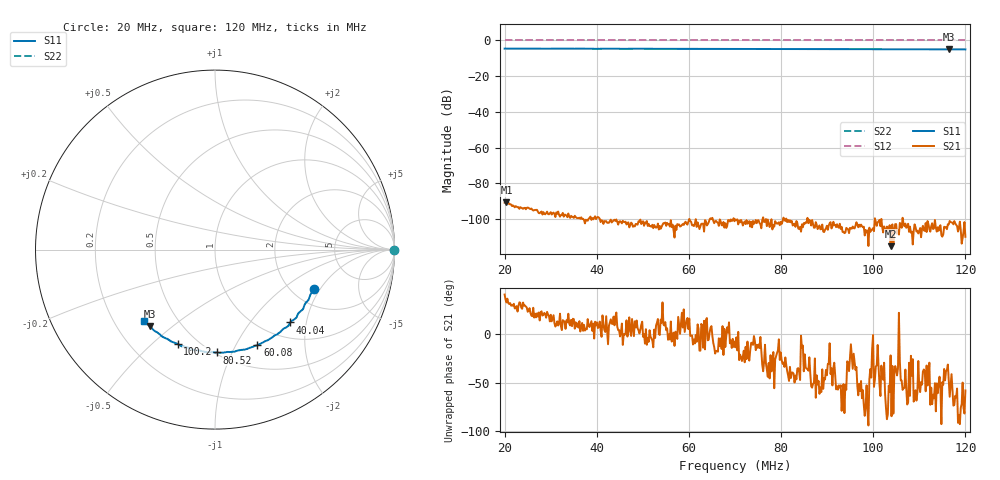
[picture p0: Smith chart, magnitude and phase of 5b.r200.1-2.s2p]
! Anritsu VNA Master:  Model: MS2036C/10/77
! SN:  1601066
! /card0/usr/18may27.balun/5b.r200.s2p
! Existing Calibration Information:
! TYPE:  Current Settings,  Active Cal Settings
! TIME:  05/27/2018 03:37:41 PM,  05/27/2018 03:21:57 PM
! INTERNAL TEMP:  53.5 C,  52.3 C
! # POINTS:  500,  500
! START FREQ:  20.000 MHz,  20.000 MHz
! STOP FREQ:  120.000 MHz,  120.000 MHz
! SOURCE POWER:  High,  High
! IFBW:  50 Hz,  50 Hz
! AVG FACTOR:  1 ,  1
! REF PLANE 1:  0 mm,  0 mm
! REF PLANE 2:  0 mm,  0 mm
! CAL TYPE:  Full S11,  Full S11
! CAL METHOD:  SOLT,  SOLT
! CAL LINE TYPE:  Coax,  Coax
! DUT PORT 1:  K-Conn(M),  K-Conn(M)
! DUT PORT 2:  K-Conn(M),  K-Conn(M)
! CAL STATUS:  OK: Accuracy High,  --
# GHZ S DB R 50.0
! FREQ.GHZ  S11DB  S11A  S21DB  S21A  S12DB  S12A  S22DB  S22A
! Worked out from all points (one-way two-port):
!   500 points, 20 MHz to 120 MHz, reference 50 ohm
!   highest |S21| = -90.64 dB at 20.4 MHz (marker M1); lowest = -115.1 dB at 103.8 MHz (marker M2)
!   lowest |S11| = -5.0 dB at 116.4 MHz (marker M3), VSWR 3.54, Z = 16.8 - j20.9 ohm
!   |S11| at or under -10 dB: nowhere
!   |S22| runs from 0.0 to 0.0 dB; largest |S21 - S12| = 1
!   S11 on the Smith chart (normalised r, x): 20 MHz: 2.59, -1.75; 40.04 MHz: 1.31, -1.62; 60.08 MHz: 0.76, -1.23; 80.52 MHz: 0.51, -0.88; 100.2 MHz: 0.39, -0.61; 120 MHz: 0.32, -0.38
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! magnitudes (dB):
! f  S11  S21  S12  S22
! 20 MHz  -4.6  -90.8  0.0  0.0
! 20.4 MHz  -4.5  -90.6  0.0  0.0
! 26.21 MHz  -4.6  -95.1  0.0  0.0
! 28.42 MHz  -4.6  -96.1  0.0  0.0
! 31.22 MHz  -4.6  -96.2  0.0  0.0
! 34.03 MHz  -4.7  -98.5  0.0  0.0
! 36.83 MHz  -4.6  -99.9  0.0  0.0
! 40.04 MHz  -4.7  -99.1  0.0  0.0
! 42.24 MHz  -4.6  -102.0  0.0  0.0
! 45.05 MHz  -4.7  -101.1  0.0  0.0
! 53.47 MHz  -4.7  -105.8  0.0  0.0
! 60.08 MHz  -4.7  -99.8  0.0  0.0
! 70.1 MHz  -4.8  -100.1  0.0  0.0
! 80.52 MHz  -4.8  -99.1  0.0  0.0
! 86.73 MHz  -4.9  -100.5  0.0  0.0
! 94.55 MHz  -4.9  -105.7  0.0  0.0
! 97.96 MHz  -4.9  -104.2  0.0  0.0
! 100.2 MHz  -5.0  -106.7  0.0  0.0
! 103.4 MHz  -4.9  -105.7  0.0  0.0
! 103.8 MHz  -4.9  -115.1  0.0  0.0
! 116.4 MHz  -5.0  -102.9  0.0  0.0
! 120 MHz  -5.0  -109.9  0.0  0.0
